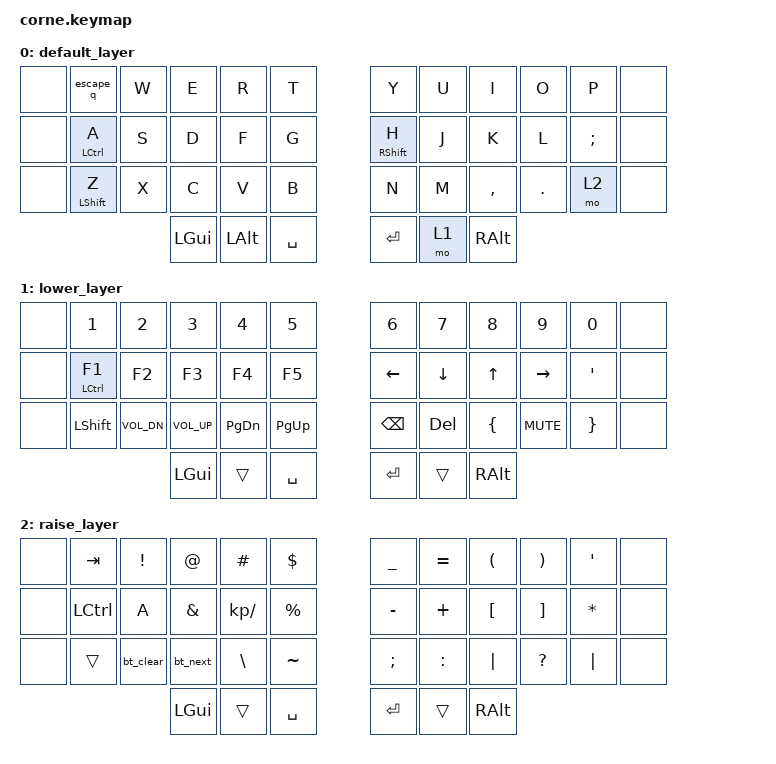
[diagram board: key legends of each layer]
/*
 * Copyright (c) 2020 The ZMK Contributors
 *
 * SPDX-License-Identifier: MIT
 */

#include <behaviors.dtsi>
#include <dt-bindings/zmk/bt.h>
#include <dt-bindings/zmk/keys.h>
#include <dt-bindings/zmk/keys.h>

/ {
    behaviors {
        bt_next: bt_next {
            compatible = "zmk,behavior-mod-morph";
            #binding-cells = <0>;
            bindings = <&kp GT>, <&bt BT_NXT>;

            mods = <(MOD_RALT)>;
        };

        bt_clear: bt_clear {
            compatible = "zmk,behavior-mod-morph";
            #binding-cells = <0>;
            bindings = <&kp LT>, <&bt BT_CLR>;

            mods = <(MOD_RALT)>;
        };

        escape_q: escape_q {
            compatible = "zmk,behavior-mod-morph";
            #binding-cells = <0>;
            bindings = <&kp Q>, <&kp ESC>;

            mods = <(MOD_RSFT|MOD_RALT)>; // Needs to be right shift other wise I would not be able to type capital Q
            // keep-mods = <(MOD_LCTL|MOD_LGUI)>;
        };

        rpi: require_prior_idle {
            compatible = "zmk,behavior-hold-tap";
            #binding-cells = <2>;
            flavor = "tap-preferred";
            tapping-term-ms = <200>;
            quick-tap-ms = <200>;
            require-prior-idle-ms = <125>;
            bindings = <&kp>, <&kp>;
        };
    };

    keymap {
        compatible = "zmk,keymap";

        default_layer {
            bindings = <
&none  &escape_q     &kp W  &kp E     &kp R      &kp T        &kp Y          &kp U  &kp I      &kp O    &kp P     &none
&none  &rpi LCTRL A  &kp S  &kp D     &kp F      &kp G        &rpi RSHIFT H  &kp J  &kp K      &kp L    &kp SEMI  &none
&none  &mt LSHIFT Z  &kp X  &kp C     &kp V      &kp B        &kp N          &kp M  &kp COMMA  &kp DOT  &mo 2     &none
                            &kp LGUI  &kp LALT  &kp SPACE    &kp RET        &mo 1  &kp RALT
            >;
        };

        lower_layer {
            bindings = <
&none  &kp N1        &kp N2        &kp N3        &kp N4     &kp N5       &kp N6    &kp N7      &kp N8          &kp N9      &kp N0           &none
&none  &mt LCTRL F1  &kp F2        &kp F3        &kp F4     &kp F5       &kp LEFT  &kp DOWN    &kp UP          &kp RIGHT   &kp APOS         &none
&none  &kp LSHFT     &kp C_VOL_DN  &kp C_VOL_UP  &kp PG_DN  &kp PG_UP    &kp BSPC  &kp DELETE  &kp LEFT_BRACE  &kp C_MUTE  &kp RIGHT_BRACE  &none
                                   &kp LGUI      &trans     &kp SPACE    &kp RET   &trans      &kp RALT
            >;
        };

        raise_layer {
            bindings = <
&none  &kp TAB    &kp EXCL   &kp AT    &kp HASH       &kp DOLLAR     &kp UNDER      &kp EQUAL  &kp LPAR          &kp RPAR           &kp APOS  &none
&none  &kp LCTRL  &kp A      &kp AMPS  &kp KP_DIVIDE  &kp PERCENT    &kp MINUS      &kp PLUS   &kp LEFT_BRACKET  &kp RIGHT_BRACKET  &kp STAR  &none
&none  &trans     &bt_clear  &bt_next  &kp BSLH       &kp TILDE      &kp SEMICOLON  &kp COLON  &kp PIPE          &kp QMARK          &kp PIPE  &none
                             &kp LGUI  &trans         &kp SPACE      &kp RET        &trans     &kp RALT
            >;
        };
    };
};
